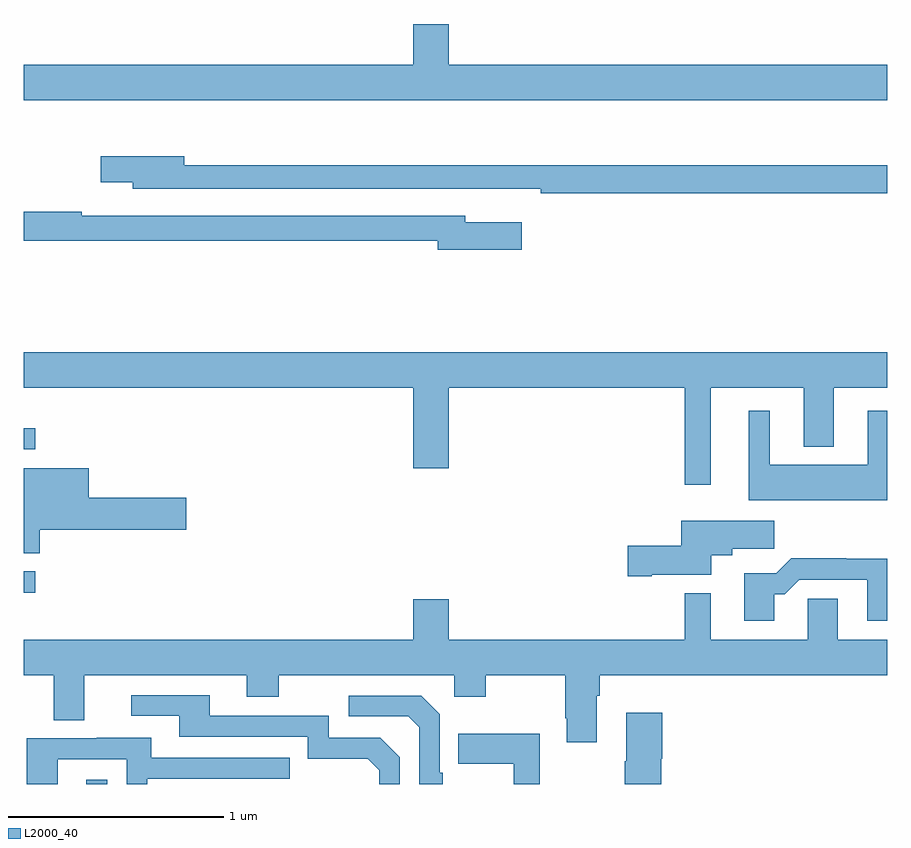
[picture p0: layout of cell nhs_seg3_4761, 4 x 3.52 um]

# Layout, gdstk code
import gdstk
lib = gdstk.Library(unit=1e-6, precision=1e-09)
def R(c, l, rs):  # rectangles x0, y0, x1, y1
    for r in rs: c.add(gdstk.rectangle(r[:2], r[2:], *l))
def P(c, l, *ps):  # polygons
    for p in ps: c.add(gdstk.Polygon(p, *l))
L2000_40 = (2000, 40)

nhs_seg3_4761 = lib.new_cell('nhs_seg3_4761')
R(nhs_seg3_4761, L2000_40, [(367.289,712.4,367.386,712.42), (367,713.287,367.054,713.385), (367,713.952,367.054,714.048)])
P(nhs_seg3_4761, L2000_40, [(371,715.732),(368.968,715.732),(368.968,715.921),(368.804,715.921),(368.804,715.732),(367,715.732),(367,715.568),(371,715.568)],
  [(371,715.267),(367.744,715.267),(367.744,715.309),(367.356,715.309),(367.356,715.187),(367.505,715.187),(367.505,715.158),(369.142,715.158),(369.142,715.157),(369.394,715.157),(369.394,715.138),(371,715.138)],
  [(369.307,715.003),(369.046,715.003),(369.046,715.032),(367.268,715.032),(367.268,715.052),(367,715.052),(367,714.916),(368.918,714.916),(368.918,714.874),(369.307,714.874)],
  [(370.183,714.236),(370.613,714.236),(370.613,713.963),(370.753,713.963),(370.753,714.236),(371,714.236),(371,714.4),(367,714.4),(367,714.236),(368.804,714.236),(368.804,713.862),(368.968,713.862),(368.968,714.236),(370.062,714.236),(370.062,713.787),(370.183,713.787)],
  [(371,714.13),(370.91,714.13),(370.91,713.878),(370.456,713.878),(370.456,714.13),(370.358,714.13),(370.358,713.714),(371,713.714)],
  [(367.073,713.579),(367.753,713.579),(367.753,713.726),(367.3,713.726),(367.3,713.863),(367,713.863),(367,713.47),(367.073,713.47)],
  [(369.91,713.369),(370.186,713.369),(370.186,713.459),(370.282,713.459),(370.282,713.491),(370.477,713.491),(370.477,713.62),(370.046,713.62),(370.046,713.504),(369.798,713.504),(369.798,713.362),(369.91,713.362)],
  [(370.477,713.279),(370.526,713.279),(370.593,713.346),(370.907,713.346),(370.907,713.157),(371,713.157),(371,713.444),(370.811,713.444),(370.811,713.447),(370.556,713.447),(370.486,713.377),(370.337,713.377),(370.337,713.157),(370.477,713.157)],
  [(369.655,712.808),(369.668,712.808),(369.668,712.904),(371,712.904),(371,713.068),(370.771,713.068),(370.771,713.258),(370.632,713.258),(370.632,713.068),(370.183,713.068),(370.183,713.284),(370.062,713.284),(370.062,713.068),(368.968,713.068),(368.968,713.257),(368.804,713.257),(368.804,713.068),(367,713.068),(367,712.904),(367.139,712.904),(367.139,712.696),(367.279,712.696),(367.279,712.904),(368.033,712.904),(368.033,712.805),(368.181,712.805),(368.181,712.904),(368.994,712.904),(368.994,712.805),(369.141,712.805),(369.141,712.904),(369.508,712.904),(369.508,712.705),(369.515,712.705),(369.515,712.593),(369.655,712.593)],
  [(368.742,712.524),(368.652,712.614),(368.412,712.614),(368.412,712.716),(367.861,712.716),(367.861,712.812),(367.497,712.812),(367.497,712.716),(367.721,712.716),(367.721,712.62),(368.316,712.62),(368.316,712.517),(368.593,712.517),(368.646,712.464),(368.646,712.4),(368.742,712.4)],
  [(368.941,712.453),(368.928,712.453),(368.928,712.722),(368.841,712.809),(368.505,712.809),(368.505,712.713),(368.781,712.713),(368.832,712.662),(368.832,712.4),(368.941,712.4)],
  [(369.954,712.516),(369.959,712.516),(369.959,712.729),(369.791,712.729),(369.791,712.505),(369.784,712.505),(369.784,712.4),(369.954,712.4)],
  [(369.391,712.633),(369.013,712.633),(369.013,712.493),(369.27,712.493),(369.27,712.4),(369.391,712.4)],
  [(367.158,712.515),(367.476,712.515),(367.476,712.4),(367.572,712.4),(367.572,712.425),(368.231,712.425),(368.231,712.521),(367.591,712.521),(367.591,712.615),(367.337,712.615),(367.337,712.611),(367.013,712.611),(367.013,712.4),(367.158,712.4)])

lib.write_gds('nhs_seg3_4761.gds')
